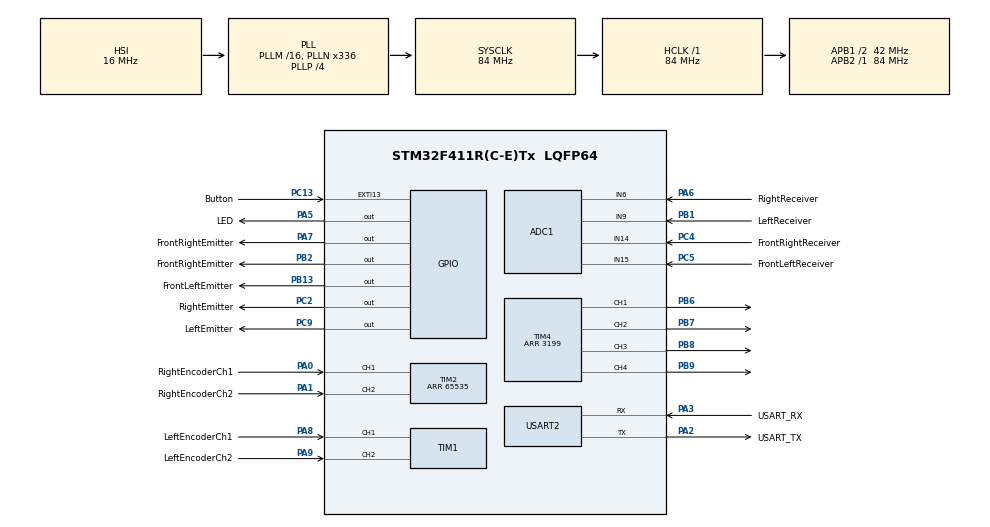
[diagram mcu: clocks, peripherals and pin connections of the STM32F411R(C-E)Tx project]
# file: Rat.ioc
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ADC1.Channel-0\#ChannelRegularConversion=ADC_CHANNEL_15
ADC1.ContinuousConvMode=ENABLE
ADC1.DMAContinuousRequests=ENABLE
ADC1.NbrOfConversionFlag=1
ADC1.Rank-0\#ChannelRegularConversion=1
ADC1.SamplingTime-0\#ChannelRegularConversion=ADC_SAMPLETIME_3CYCLES
ADC1.master=1
Dma.ADC1.0.Direction=DMA_PERIPH_TO_MEMORY
Dma.ADC1.0.FIFOMode=DMA_FIFOMODE_DISABLE
Dma.ADC1.0.Instance=DMA2_Stream0
Dma.ADC1.0.MemDataAlignment=DMA_MDATAALIGN_HALFWORD
Dma.ADC1.0.MemInc=DMA_MINC_ENABLE
Dma.ADC1.0.Mode=DMA_CIRCULAR
Dma.ADC1.0.PeriphDataAlignment=DMA_PDATAALIGN_HALFWORD
Dma.ADC1.0.PeriphInc=DMA_PINC_DISABLE
Dma.ADC1.0.Priority=DMA_PRIORITY_LOW
Dma.Request0=ADC1
Mcu.Family=STM32F4
Mcu.Name=STM32F411R(C-E)Tx
Mcu.Package=LQFP64
NVIC.DMA2_Stream0_IRQn=true\:0\:0\:false\:false\:true\:false\:true\:true
NVIC.EXTI15_10_IRQn=true\:0\:0\:false\:false\:true\:true\:true\:true
NVIC.PriorityGroup=NVIC_PRIORITYGROUP_0
NVIC.TIM4_IRQn=true\:0\:0\:false\:false\:true\:true\:true\:true
PA0-WKUP.GPIO_Label=RightEncoderCh1
PA0-WKUP.Signal=S_TIM2_CH1_ETR
PA1.GPIO_Label=RightEncoderCh2
PA1.Signal=S_TIM2_CH2
PA13.GPIO_Label=TMS
PA13.Mode=Serial_Wire
PA13.Signal=SYS_JTMS-SWDIO
PA14.GPIO_Label=TCK
PA14.Mode=Serial_Wire
PA14.Signal=SYS_JTCK-SWCLK
PA2.GPIO_Label=USART_TX
PA2.Mode=Asynchronous
PA2.Signal=USART2_TX
PA3.GPIO_Label=USART_RX
PA3.Mode=Asynchronous
PA3.Signal=USART2_RX
PA5.GPIO_Label=LED
PA5.Signal=GPIO_Output
PA6.GPIO_Label=RightReceiver
PA6.Signal=ADCx_IN6
PA7.GPIO_Label=FrontRightEmitter
PA7.Signal=GPIO_Output
PA8.GPIO_Label=LeftEncoderCh1
PA8.Signal=S_TIM1_CH1
PA9.GPIO_Label=LeftEncoderCh2
PA9.Signal=S_TIM1_CH2
PB1.GPIO_Label=LeftReceiver
PB1.Signal=ADCx_IN9
PB13.GPIO_Label=FrontLeftEmitter
PB13.Signal=GPIO_Output
PB2.GPIO_Label=FrontRightEmitter
PB2.Signal=GPIO_Output
PB3.GPIO_Label=SWO
PB3.Signal=SYS_JTDO-SWO
PB6.Signal=S_TIM4_CH1
PB7.Signal=S_TIM4_CH2
PB8.Signal=S_TIM4_CH3
PB9.Signal=S_TIM4_CH4
PC13-ANTI_TAMP.GPIO_Label=Button
PC13-ANTI_TAMP.GPIO_ModeDefaultEXTI=GPIO_MODE_IT_RISING_FALLING
PC13-ANTI_TAMP.Signal=GPXTI13
PC14-OSC32_IN.Mode=LSE-External-Oscillator
PC14-OSC32_IN.Signal=RCC_OSC32_IN
PC15-OSC32_OUT.Mode=LSE-External-Oscillator
PC15-OSC32_OUT.Signal=RCC_OSC32_OUT
PC2.GPIO_Label=RightEmitter
PC2.Signal=GPIO_Output
PC4.GPIO_Label=FrontRightReceiver
PC4.Signal=ADCx_IN14
PC5.GPIO_Label=FrontLeftReceiver
PC5.Signal=ADCx_IN15
PC9.GPIO_Label=LeftEmitter
PC9.Signal=GPIO_Output
PH0\ -\ OSC_IN.Mode=HSE-External-Clock-Source
PH0\ -\ OSC_IN.Signal=RCC_OSC_IN
PH1\ -\ OSC_OUT.Mode=HSE-External-Clock-Source
PH1\ -\ OSC_OUT.Signal=RCC_OSC_OUT
ProjectManager.HeapSize=0x200
ProjectManager.StackSize=0x400
ProjectManager.TargetToolchain=STM32CubeIDE
RCC.48MHZClocksFreq_Value=84000000
RCC.AHBFreq_Value=84000000
RCC.APB1CLKDivider=RCC_HCLK_DIV2
RCC.APB1Freq_Value=42000000
RCC.APB1TimFreq_Value=84000000
RCC.APB2Freq_Value=84000000
RCC.APB2TimFreq_Value=84000000
RCC.CortexFreq_Value=84000000
RCC.FLatency-AdvancedSettings=FLASH_LATENCY_2
RCC.HCLKFreq_Value=84000000
RCC.HSE_VALUE=8000000
RCC.HSI_VALUE=16000000
RCC.PLLN=336
RCC.PLLP=RCC_PLLP_DIV4
RCC.SYSCLKFreq_VALUE=84000000
RCC.SYSCLKSource=RCC_SYSCLKSOURCE_PLLCLK
RCC.VCOOutputFreq_Value=336000000
SH.ADCx_IN14.0=ADC1_IN14,IN14
SH.ADCx_IN15.0=ADC1_IN15,IN15
SH.ADCx_IN6.0=ADC1_IN6,IN6
SH.ADCx_IN9.0=ADC1_IN9,IN9
SH.S_TIM1_CH1.0=TIM1_CH1,Encoder_Interface
SH.S_TIM1_CH2.0=TIM1_CH2,Encoder_Interface
SH.S_TIM2_CH1_ETR.0=TIM2_CH1,Encoder_Interface
SH.S_TIM2_CH2.0=TIM2_CH2,Encoder_Interface
SH.S_TIM4_CH1.0=TIM4_CH1,PWM Generation1 CH1
SH.S_TIM4_CH2.0=TIM4_CH2,PWM Generation2 CH2
SH.S_TIM4_CH3.0=TIM4_CH3,PWM Generation3 CH3
SH.S_TIM4_CH4.0=TIM4_CH4,PWM Generation4 CH4
TIM1.EncoderMode=TIM_ENCODERMODE_TI12
TIM2.EncoderMode=TIM_ENCODERMODE_TI12
TIM2.Period=65535
TIM4.Channel-PWM\ Generation1\ CH1=TIM_CHANNEL_1
TIM4.Channel-PWM\ Generation2\ CH2=TIM_CHANNEL_2
TIM4.Channel-PWM\ Generation3\ CH3=TIM_CHANNEL_3
TIM4.Channel-PWM\ Generation4\ CH4=TIM_CHANNEL_4
TIM4.Period=3199
USART2.VirtualMode=VM_ASYNC
board=NUCLEO-F411RE

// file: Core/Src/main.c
/* USER CODE BEGIN Header */
/**
  ******************************************************************************
  * @file           : main.c
  * @brief          : Main program body
  ******************************************************************************
  * @attention
  *
  * Copyright (c) 2023 STMicroelectronics.
  * All rights reserved.
  *
  * This software is licensed under terms that can be found in the LICENSE file
  * in the root directory of this software component.
  * If no LICENSE file comes with this software, it is provided AS-IS.
  *
  ******************************************************************************
  */
/* USER CODE END Header */
#include "main.h"

/* USER CODE BEGIN Includes */
#include "encoders.h"
#include "motors.h"
#include "controller.h"
#include "pid.h"
#include "delay.h"
#include "irs.h"
/* USER CODE END Includes */

ADC_HandleTypeDef hadc1;
DMA_HandleTypeDef hdma_adc1;

TIM_HandleTypeDef htim1;
TIM_HandleTypeDef htim2;
TIM_HandleTypeDef htim4;

UART_HandleTypeDef huart2;

/* USER CODE BEGIN PV */

int16_t left_counts = 0;
int16_t right_counts = 0;

int16_t l = 0;
int16_t lf = 0;
int16_t rf = 0;
int16_t r = 0;

/* USER CODE END PV */

void SystemClock_Config(void);
static void MX_GPIO_Init(void);
static void MX_DMA_Init(void);
static void MX_USART2_UART_Init(void);
static void MX_TIM1_Init(void);
static void MX_TIM2_Init(void);
static void MX_TIM4_Init(void);
static void MX_ADC1_Init(void);

int main(void)
{

  /* MCU Configuration--------------------------------------------------------*/

  /* Reset of all peripherals, Initializes the Flash interface and the Systick. */
  HAL_Init();

  /* USER CODE BEGIN Init */
  Delay_Init();
  /* USER CODE END Init */

  /* Configure the system clock */
  SystemClock_Config();

  /* Initialize all configured peripherals */
  MX_GPIO_Init();
  MX_DMA_Init();
  MX_USART2_UART_Init();
  MX_TIM1_Init();
  MX_TIM2_Init();
  MX_TIM4_Init();
  MX_ADC1_Init();
  /* USER CODE BEGIN 2 */

  //Encoder setup:
  HAL_TIM_Encoder_Start(&htim1, TIM_CHANNEL_ALL);
  HAL_TIM_Encoder_Start(&htim2, TIM_CHANNEL_ALL);

  //Motor setup:
  HAL_TIM_PWM_Start(&htim4, TIM_CHANNEL_1);
  HAL_TIM_PWM_Start(&htim4, TIM_CHANNEL_2);
  HAL_TIM_PWM_Start(&htim4, TIM_CHANNEL_3);
  HAL_TIM_PWM_Start(&htim4, TIM_CHANNEL_4);

  //Setting motors to run:
  setMotorLPWM(0.5);
  setMotorRPWM(0.5);
  HAL_Delay(1000);
  //move(1);
  //move(5);

  /* USER CODE END 2 */

  /* Infinite loop */
  /* USER CODE BEGIN WHILE */
  while (1)
  {

	  l = readLeftIR();
	  lf = readFrontLeftIR();
	  rf = readFrontRightIR();
	  r = readRightIR();

	  left_counts = getLeftEncoderCounts();
	  right_counts = getRightEncoderCounts();

    /* USER CODE END WHILE */

  }
}

void SystemClock_Config(void)
{
  RCC_OscInitTypeDef RCC_OscInitStruct = {0};
  RCC_ClkInitTypeDef RCC_ClkInitStruct = {0};

  /** Configure the main internal regulator output voltage
  */
  __HAL_RCC_PWR_CLK_ENABLE();
  __HAL_PWR_VOLTAGESCALING_CONFIG(PWR_REGULATOR_VOLTAGE_SCALE1);

  /** Initializes the RCC Oscillators according to the specified parameters
  * in the RCC_OscInitTypeDef structure.
  */
  RCC_OscInitStruct.OscillatorType = RCC_OSCILLATORTYPE_HSI;
  RCC_OscInitStruct.HSIState = RCC_HSI_ON;
  RCC_OscInitStruct.HSICalibrationValue = RCC_HSICALIBRATION_DEFAULT;
  RCC_OscInitStruct.PLL.PLLState = RCC_PLL_ON;
  RCC_OscInitStruct.PLL.PLLSource = RCC_PLLSOURCE_HSI;
  RCC_OscInitStruct.PLL.PLLM = 16;
  RCC_OscInitStruct.PLL.PLLN = 336;
  RCC_OscInitStruct.PLL.PLLP = RCC_PLLP_DIV4;
  RCC_OscInitStruct.PLL.PLLQ = 4;
  if (HAL_RCC_OscConfig(&RCC_OscInitStruct) != HAL_OK)
  {
    Error_Handler();
  }

  /** Initializes the CPU, AHB and APB buses clocks
  */
  RCC_ClkInitStruct.ClockType = RCC_CLOCKTYPE_HCLK|RCC_CLOCKTYPE_SYSCLK
                              |RCC_CLOCKTYPE_PCLK1|RCC_CLOCKTYPE_PCLK2;
  RCC_ClkInitStruct.SYSCLKSource = RCC_SYSCLKSOURCE_PLLCLK;
  RCC_ClkInitStruct.AHBCLKDivider = RCC_SYSCLK_DIV1;
  RCC_ClkInitStruct.APB1CLKDivider = RCC_HCLK_DIV2;
  RCC_ClkInitStruct.APB2CLKDivider = RCC_HCLK_DIV1;

  if (HAL_RCC_ClockConfig(&RCC_ClkInitStruct, FLASH_LATENCY_2) != HAL_OK)
  {
    Error_Handler();
  }
}

static void MX_ADC1_Init(void)
{

  ADC_ChannelConfTypeDef sConfig = {0};

  /** Configure the global features of the ADC (Clock, Resolution, Data Alignment and number of conversion)
  */
  hadc1.Instance = ADC1;
  hadc1.Init.ClockPrescaler = ADC_CLOCK_SYNC_PCLK_DIV4;
  hadc1.Init.Resolution = ADC_RESOLUTION_12B;
  hadc1.Init.ScanConvMode = DISABLE;
  hadc1.Init.ContinuousConvMode = ENABLE;
  hadc1.Init.DiscontinuousConvMode = DISABLE;
  hadc1.Init.ExternalTrigConvEdge = ADC_EXTERNALTRIGCONVEDGE_NONE;
  hadc1.Init.ExternalTrigConv = ADC_SOFTWARE_START;
  hadc1.Init.DataAlign = ADC_DATAALIGN_RIGHT;
  hadc1.Init.NbrOfConversion = 1;
  hadc1.Init.DMAContinuousRequests = ENABLE;
  hadc1.Init.EOCSelection = ADC_EOC_SINGLE_CONV;
  if (HAL_ADC_Init(&hadc1) != HAL_OK)
  {
    Error_Handler();
  }

  /** Configure for the selected ADC regular channel its corresponding rank in the sequencer and its sample time.
  */
  sConfig.Channel = ADC_CHANNEL_15;
  sConfig.Rank = 1;
  sConfig.SamplingTime = ADC_SAMPLETIME_3CYCLES;
  if (HAL_ADC_ConfigChannel(&hadc1, &sConfig) != HAL_OK)
  {
    Error_Handler();
  }

}

static void MX_TIM1_Init(void)
{

  TIM_Encoder_InitTypeDef sConfig = {0};
  TIM_MasterConfigTypeDef sMasterConfig = {0};

  htim1.Instance = TIM1;
  htim1.Init.Prescaler = 0;
  htim1.Init.CounterMode = TIM_COUNTERMODE_UP;
  htim1.Init.Period = 65535;
  htim1.Init.ClockDivision = TIM_CLOCKDIVISION_DIV1;
  htim1.Init.RepetitionCounter = 0;
  htim1.Init.AutoReloadPreload = TIM_AUTORELOAD_PRELOAD_DISABLE;
  sConfig.EncoderMode = TIM_ENCODERMODE_TI12;
  sConfig.IC1Polarity = TIM_ICPOLARITY_RISING;
  sConfig.IC1Selection = TIM_ICSELECTION_DIRECTTI;
  sConfig.IC1Prescaler = TIM_ICPSC_DIV1;
  sConfig.IC1Filter = 0;
  sConfig.IC2Polarity = TIM_ICPOLARITY_RISING;
  sConfig.IC2Selection = TIM_ICSELECTION_DIRECTTI;
  sConfig.IC2Prescaler = TIM_ICPSC_DIV1;
  sConfig.IC2Filter = 0;
  if (HAL_TIM_Encoder_Init(&htim1, &sConfig) != HAL_OK)
  {
    Error_Handler();
  }
  sMasterConfig.MasterOutputTrigger = TIM_TRGO_RESET;
  sMasterConfig.MasterSlaveMode = TIM_MASTERSLAVEMODE_DISABLE;
  if (HAL_TIMEx_MasterConfigSynchronization(&htim1, &sMasterConfig) != HAL_OK)
  {
    Error_Handler();
  }

}

static void MX_TIM2_Init(void)
{

  TIM_Encoder_InitTypeDef sConfig = {0};
  TIM_MasterConfigTypeDef sMasterConfig = {0};

  htim2.Instance = TIM2;
  htim2.Init.Prescaler = 0;
  htim2.Init.CounterMode = TIM_COUNTERMODE_UP;
  htim2.Init.Period = 65535;
  htim2.Init.ClockDivision = TIM_CLOCKDIVISION_DIV1;
  htim2.Init.AutoReloadPreload = TIM_AUTORELOAD_PRELOAD_DISABLE;
  sConfig.EncoderMode = TIM_ENCODERMODE_TI12;
  sConfig.IC1Polarity = TIM_ICPOLARITY_RISING;
  sConfig.IC1Selection = TIM_ICSELECTION_DIRECTTI;
  sConfig.IC1Prescaler = TIM_ICPSC_DIV1;
  sConfig.IC1Filter = 0;
  sConfig.IC2Polarity = TIM_ICPOLARITY_RISING;
  sConfig.IC2Selection = TIM_ICSELECTION_DIRECTTI;
  sConfig.IC2Prescaler = TIM_ICPSC_DIV1;
  sConfig.IC2Filter = 0;
  if (HAL_TIM_Encoder_Init(&htim2, &sConfig) != HAL_OK)
  {
    Error_Handler();
  }
  sMasterConfig.MasterOutputTrigger = TIM_TRGO_RESET;
  sMasterConfig.MasterSlaveMode = TIM_MASTERSLAVEMODE_DISABLE;
  if (HAL_TIMEx_MasterConfigSynchronization(&htim2, &sMasterConfig) != HAL_OK)
  {
    Error_Handler();
  }

}

static void MX_TIM4_Init(void)
{

  TIM_MasterConfigTypeDef sMasterConfig = {0};
  TIM_OC_InitTypeDef sConfigOC = {0};

  htim4.Instance = TIM4;
  htim4.Init.Prescaler = 0;
  htim4.Init.CounterMode = TIM_COUNTERMODE_UP;
  htim4.Init.Period = 3199;
  htim4.Init.ClockDivision = TIM_CLOCKDIVISION_DIV1;
  htim4.Init.AutoReloadPreload = TIM_AUTORELOAD_PRELOAD_DISABLE;
  if (HAL_TIM_PWM_Init(&htim4) != HAL_OK)
  {
    Error_Handler();
  }
  sMasterConfig.MasterOutputTrigger = TIM_TRGO_RESET;
  sMasterConfig.MasterSlaveMode = TIM_MASTERSLAVEMODE_DISABLE;
  if (HAL_TIMEx_MasterConfigSynchronization(&htim4, &sMasterConfig) != HAL_OK)
  {
    Error_Handler();
  }
  sConfigOC.OCMode = TIM_OCMODE_PWM1;
  sConfigOC.Pulse = 0;
  sConfigOC.OCPolarity = TIM_OCPOLARITY_HIGH;
  sConfigOC.OCFastMode = TIM_OCFAST_DISABLE;
  if (HAL_TIM_PWM_ConfigChannel(&htim4, &sConfigOC, TIM_CHANNEL_1) != HAL_OK)
  {
    Error_Handler();
  }
  if (HAL_TIM_PWM_ConfigChannel(&htim4, &sConfigOC, TIM_CHANNEL_2) != HAL_OK)
  {
    Error_Handler();
  }
  if (HAL_TIM_PWM_ConfigChannel(&htim4, &sConfigOC, TIM_CHANNEL_3) != HAL_OK)
  {
    Error_Handler();
  }
  if (HAL_TIM_PWM_ConfigChannel(&htim4, &sConfigOC, TIM_CHANNEL_4) != HAL_OK)
  {
    Error_Handler();
  }
  HAL_TIM_MspPostInit(&htim4);

}

static void MX_USART2_UART_Init(void)
{

  huart2.Instance = USART2;
  huart2.Init.BaudRate = 115200;
  huart2.Init.WordLength = UART_WORDLENGTH_8B;
  huart2.Init.StopBits = UART_STOPBITS_1;
  huart2.Init.Parity = UART_PARITY_NONE;
  huart2.Init.Mode = UART_MODE_TX_RX;
  huart2.Init.HwFlowCtl = UART_HWCONTROL_NONE;
  huart2.Init.OverSampling = UART_OVERSAMPLING_16;
  if (HAL_UART_Init(&huart2) != HAL_OK)
  {
    Error_Handler();
  }

}

static void MX_DMA_Init(void)
{

  /* DMA controller clock enable */
  __HAL_RCC_DMA2_CLK_ENABLE();

  /* DMA interrupt init */
  /* DMA2_Stream0_IRQn interrupt configuration */
  HAL_NVIC_SetPriority(DMA2_Stream0_IRQn, 0, 0);
  HAL_NVIC_EnableIRQ(DMA2_Stream0_IRQn);

}

static void MX_GPIO_Init(void)
{
  GPIO_InitTypeDef GPIO_InitStruct = {0};

  /* GPIO Ports Clock Enable */
  __HAL_RCC_GPIOC_CLK_ENABLE();
  __HAL_RCC_GPIOH_CLK_ENABLE();
  __HAL_RCC_GPIOA_CLK_ENABLE();
  __HAL_RCC_GPIOB_CLK_ENABLE();

  /*Configure GPIO pin Output Level */
  HAL_GPIO_WritePin(GPIOC, RightEmitter_Pin|LeftEmitter_Pin, GPIO_PIN_RESET);

  /*Configure GPIO pin Output Level */
  HAL_GPIO_WritePin(GPIOA, LED_Pin|FrontRightEmitter_Pin, GPIO_PIN_RESET);

  /*Configure GPIO pin Output Level */
  HAL_GPIO_WritePin(GPIOB, FrontRightEmitterB2_Pin|FrontLeftEmitter_Pin, GPIO_PIN_RESET);

  /*Configure GPIO pin : Button_Pin */
  GPIO_InitStruct.Pin = Button_Pin;
  GPIO_InitStruct.Mode = GPIO_MODE_IT_RISING_FALLING;
  GPIO_InitStruct.Pull = GPIO_NOPULL;
  HAL_GPIO_Init(Button_GPIO_Port, &GPIO_InitStruct);

  /*Configure GPIO pins : RightEmitter_Pin LeftEmitter_Pin */
  GPIO_InitStruct.Pin = RightEmitter_Pin|LeftEmitter_Pin;
  GPIO_InitStruct.Mode = GPIO_MODE_OUTPUT_PP;
  GPIO_InitStruct.Pull = GPIO_NOPULL;
  GPIO_InitStruct.Speed = GPIO_SPEED_FREQ_LOW;
  HAL_GPIO_Init(GPIOC, &GPIO_InitStruct);

  /*Configure GPIO pins : LED_Pin FrontRightEmitter_Pin */
  GPIO_InitStruct.Pin = LED_Pin|FrontRightEmitter_Pin;
  GPIO_InitStruct.Mode = GPIO_MODE_OUTPUT_PP;
  GPIO_InitStruct.Pull = GPIO_NOPULL;
  GPIO_InitStruct.Speed = GPIO_SPEED_FREQ_LOW;
  HAL_GPIO_Init(GPIOA, &GPIO_InitStruct);

  /*Configure GPIO pins : FrontRightEmitterB2_Pin FrontLeftEmitter_Pin */
  GPIO_InitStruct.Pin = FrontRightEmitterB2_Pin|FrontLeftEmitter_Pin;
  GPIO_InitStruct.Mode = GPIO_MODE_OUTPUT_PP;
  GPIO_InitStruct.Pull = GPIO_NOPULL;
  GPIO_InitStruct.Speed = GPIO_SPEED_FREQ_LOW;
  HAL_GPIO_Init(GPIOB, &GPIO_InitStruct);

  /* EXTI interrupt init*/
  HAL_NVIC_SetPriority(EXTI15_10_IRQn, 0, 0);
  HAL_NVIC_EnableIRQ(EXTI15_10_IRQn);

}

/* USER CODE BEGIN 4 */
void HAL_GPIO_EXTI_Callback(uint16_t GPIO_PIN)
{
	if (GPIO_PIN == Button_Pin)
	{
		/* Your code goes here */

		if (HAL_GPIO_ReadPin(Button_GPIO_Port, Button_Pin) == GPIO_PIN_RESET) {
			HAL_GPIO_WritePin(LED_GPIO_Port, LED_Pin, GPIO_PIN_SET);
		}
		else {
			HAL_GPIO_WritePin(LED_GPIO_Port, LED_Pin, GPIO_PIN_RESET);
		}

		/* Your code goes here */
	}
}

ADC_HandleTypeDef* Get_HADC1_Ptr(void)
{
	return &hadc1;
}

/* USER CODE END 4 */

void Error_Handler(void)
{
  __disable_irq();
  while (1)
  {
  }
}
